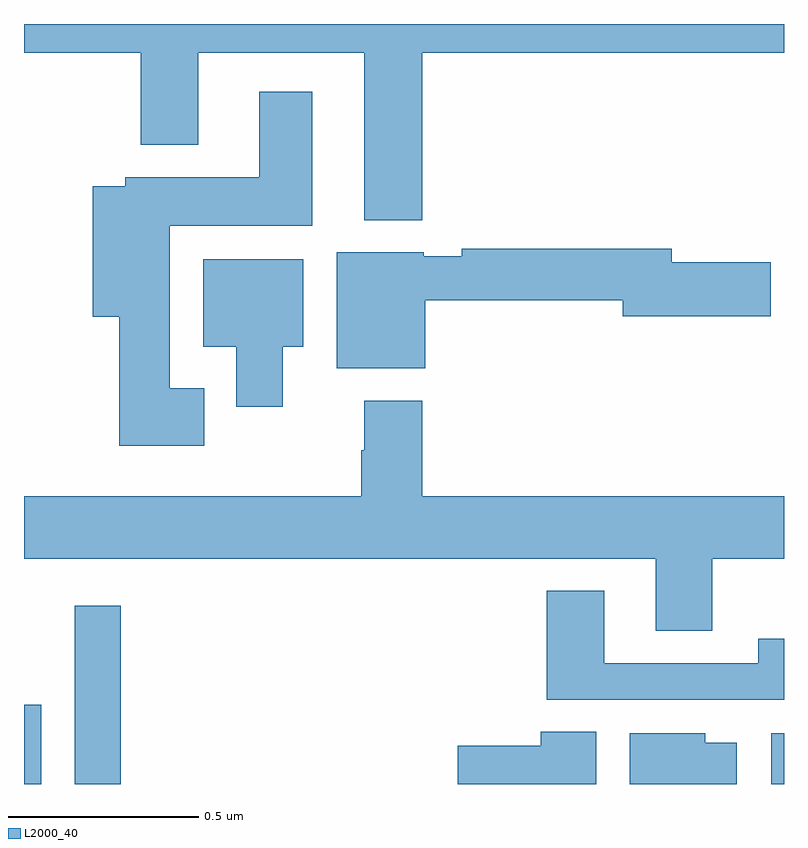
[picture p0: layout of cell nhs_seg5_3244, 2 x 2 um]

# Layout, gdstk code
import gdstk
lib = gdstk.Library(unit=1e-6, precision=1e-09)
def R(c, l, rs):  # rectangles x0, y0, x1, y1
    for r in rs: c.add(gdstk.rectangle(r[:2], r[2:], *l))
def P(c, l, *ps):  # polygons
    for p in ps: c.add(gdstk.Polygon(p, *l))
L2000_40 = (2000, 40)

nhs_seg5_3244 = lib.new_cell('nhs_seg5_3244')
R(nhs_seg5_3244, L2000_40, [(154,890.799,154.045,891.007), (154.133,890.799,154.255,891.268), (155.966,890.799,156,890.932)])
P(nhs_seg5_3244, L2000_40, [(155.048,892.724),(156,892.724),(156,892.799),(154,892.799),(154,892.724),(154.307,892.724),(154.307,892.481),(154.459,892.481),(154.459,892.724),(154.895,892.724),(154.895,892.283),(155.048,892.283)],
  [(154.474,891.841),(154.384,891.841),(154.384,892.268),(154.759,892.268),(154.759,892.621),(154.619,892.621),(154.619,892.396),(154.266,892.396),(154.266,892.372),(154.181,892.372),(154.181,892.028),(154.25,892.028),(154.25,891.689),(154.474,891.689)],
  [(155.056,892.072),(155.576,892.072),(155.576,892.03),(155.965,892.03),(155.965,892.172),(155.704,892.172),(155.704,892.208),(155.152,892.208),(155.152,892.188),(155.052,892.188),(155.052,892.198),(154.823,892.198),(154.823,891.893),(155.056,891.893)],
  [(154.681,891.95),(154.735,891.95),(154.735,892.18),(154.472,892.18),(154.472,891.95),(154.559,891.95),(154.559,891.792),(154.681,891.792)],
  [(155.811,891.392),(156,891.392),(156,891.556),(155.048,891.556),(155.048,891.808),(154.895,891.808),(154.895,891.677),(154.888,891.677),(154.888,891.556),(154,891.556),(154,891.392),(155.663,891.392),(155.663,891.202),(155.811,891.202)],
  [(156,891.181),(155.932,891.181),(155.932,891.117),(155.527,891.117),(155.527,891.307),(155.375,891.307),(155.375,891.021),(156,891.021)],
  [(155.506,890.936),(155.36,890.936),(155.36,890.9),(155.142,890.9),(155.142,890.799),(155.506,890.799)],
  [(155.875,890.908),(155.793,890.908),(155.793,890.932),(155.594,890.932),(155.594,890.799),(155.875,890.799)])

lib.write_gds('nhs_seg5_3244.gds')
